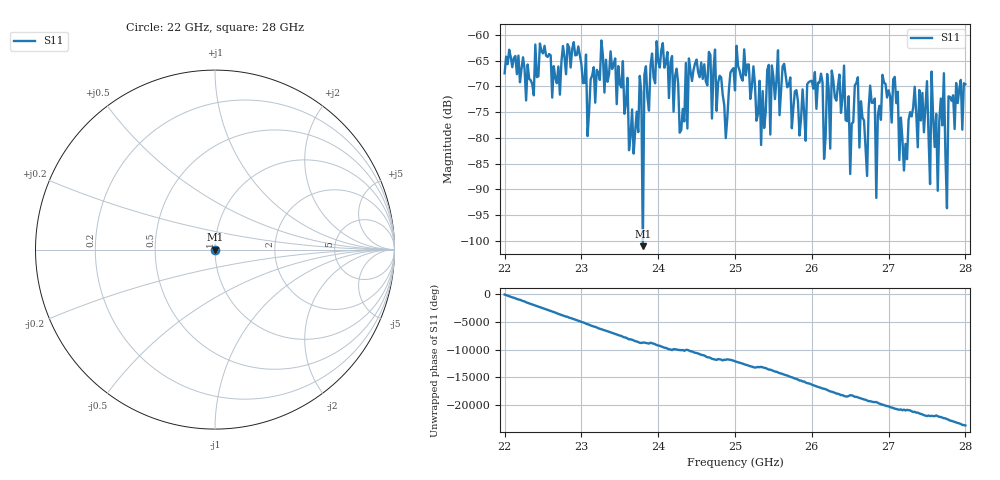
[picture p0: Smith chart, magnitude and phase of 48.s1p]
#  HZ  S  RI  R  50.00
! Rohde & Schwarz ZVA40 4Ports - Version 3.90 - 1145.1110k42 SN: 100403
! Date: 2023-10-04 09:21:11
! Measurement: S12
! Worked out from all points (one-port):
!   301 points, 22 GHz to 28 GHz, reference 50 ohm
!   lowest |S11| = -101.0 dB at 23.8 GHz (marker M1), VSWR 1.00, Z = 50 - j0.000863 ohm
!   |S11| at or under -10 dB: start of sweep to end of sweep
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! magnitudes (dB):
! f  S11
! 22 GHz  -67.4
! 22.76 GHz  -62.1
! 23.06 GHz  -63.8
! 23.08 GHz  -79.6
! 23.26 GHz  -61.1
! 23.5 GHz  -69.5
! 23.68 GHz  -83.0
! 23.76 GHz  -68.0
! 23.8 GHz  -101.0
! 23.98 GHz  -61.2
! 24.26 GHz  -69.4
! 25 GHz  -70.8
! 25.44 GHz  -65.8
! 25.46 GHz  -79.3
! 25.56 GHz  -63.0
! 25.76 GHz  -74.2
! 26.12 GHz  -67.5
! 26.18 GHz  -79.8
! 26.2 GHz  -67.6
! 26.24 GHz  -82.1
! 26.26 GHz  -66.9
! 26.42 GHz  -66.0
! 26.5 GHz  -87.0
! 26.6 GHz  -68.2
! 26.62 GHz  -81.9
! 26.92 GHz  -67.7
! 27.26 GHz  -76.5
! 28 GHz  -69.6
